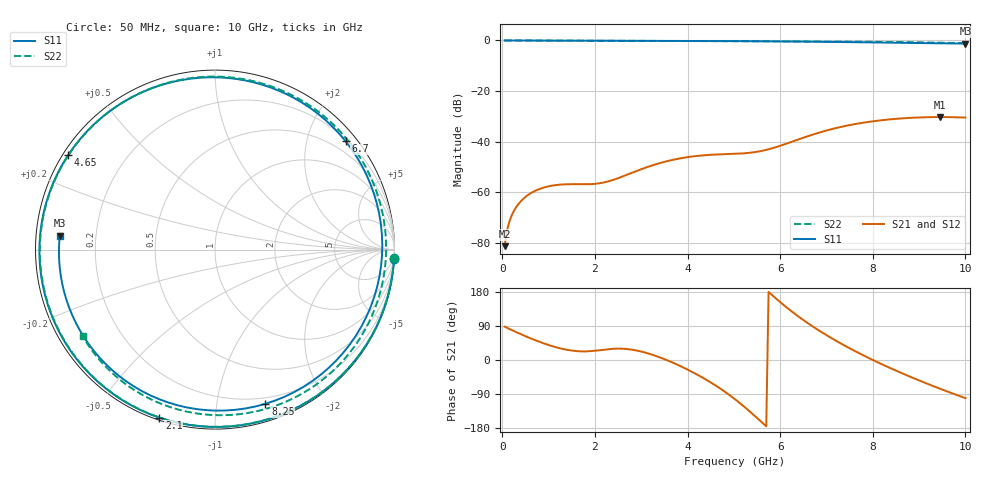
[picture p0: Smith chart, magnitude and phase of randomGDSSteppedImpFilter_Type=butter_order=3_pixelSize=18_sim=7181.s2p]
! freq	dB(S11)	phase(S11)	dB(S12)	phase(S12)
!  dB(S21)	phase(S21)	dB(S22)	phase(S22)
!S-par simulation data
#  GHz  S  DB  R 50
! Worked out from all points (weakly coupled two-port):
!   200 points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, 50 MHz to 10 GHz, reference 50 ohm
!   highest |S21| = -30.30 dB at 9.45 GHz (marker M1); lowest = -81.4 dB at 50 MHz (marker M2)
!   lowest |S11| = -1.2 dB at 10 GHz (marker M3), VSWR 14.19, Z = 3.53 + j2.23 ohm
!   |S11| at or under -10 dB: nowhere
!   |S22| runs from -1.1 to 0.0 dB; largest |S21 - S12| = 0
!   S11 on the Smith chart (normalised r, x): 50 MHz: 1, -40; 2.1 GHz: 0.01, -0.72; 4.65 GHz: 0.02, +0.29; 6.7 GHz: 0.24, +2.75; 8.25 GHz: 0.15, -1.37; 10 GHz: 0.07, +0.04
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0.05  -0.01 -2.9  -81.37 88.2  -81.37 88.2  -0.01 -2.7
0.15  -0.02 -8.5  -71.79 82.1  -71.79 82.1  -0.01 -8.1
0.25  -0.02 -14.2  -67.45 76.4  -67.45 76.4  -0.02 -13.4
0.55  -0.03 -30.9  -61.20 60.3  -61.20 60.3  -0.03 -29.4
1.15  -0.07 -62.9  -57.21 34.0  -57.21 34.0  -0.07 -60.7
1.75  -0.11 -92.4  -56.89 22.7  -56.89 22.7  -0.11 -91.1
2.1  -0.12 -108.4  -56.50 25.9  -56.50 25.9  -0.13 -108.4
2.8  -0.15 -138.2  -52.34 27.2  -52.34 27.2  -0.17 -142.5
3.4  -0.17 -162.3  -48.52 7.0  -48.52 7.0  -0.20 -171.7
4  -0.20 173.8  -46.15 -25.2  -46.15 -25.2  -0.24 158.3
4.65  -0.24 147.2  -45.09 -70.8  -45.09 -70.8  -0.28 124.4
5.05  -0.27 129.7  -44.82 -105.9  -44.82 -105.9  -0.30 102.8
5.5  -0.31 108.4  -44.04 -152.8  -44.04 -152.8  -0.33 78.0
5.95  -0.37 84.9  -41.97 158.0  -41.97 158.0  -0.35 53.1
6.7  -0.49 39.7  -37.26 88.8  -37.26 88.8  -0.40 12.6
7.1  -0.57 12.4  -35.13 58.3  -35.13 58.3  -0.43 -8.0
7.45  -0.66 -12.9  -33.66 34.2  -33.66 34.2  -0.46 -25.3
8.25  -0.88 -71.9  -31.43 -14.3  -31.43 -14.3  -0.57 -62.6
8.35  -0.90 -79.1  -31.25 -19.8  -31.25 -19.8  -0.59 -67.1
8.85  -1.03 -113.9  -30.58 -46.3  -30.58 -46.3  -0.70 -89.5
9.45  -1.15 -152.4  -30.30 -75.7  -30.30 -75.7  -0.88 -117.6
10  -1.23 174.9  -30.50 -100.5  -30.50 -100.5  -1.10 -146.7
